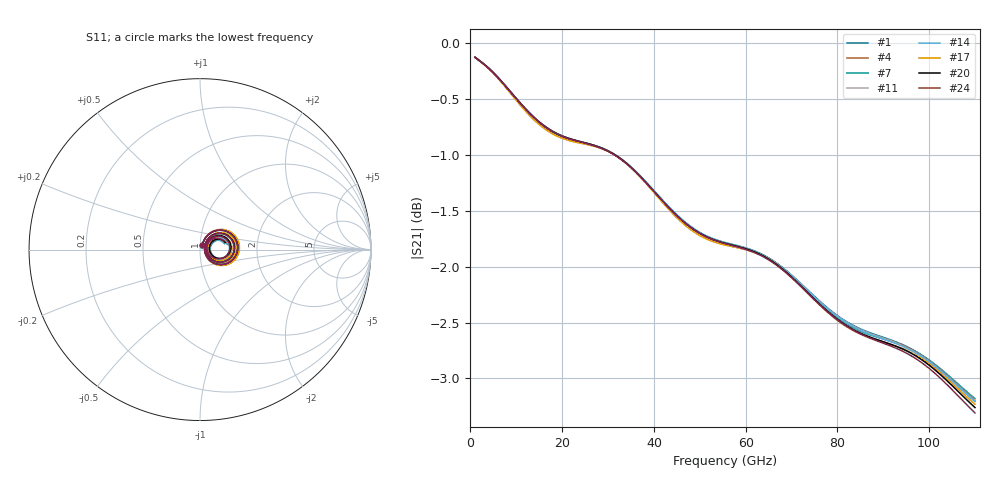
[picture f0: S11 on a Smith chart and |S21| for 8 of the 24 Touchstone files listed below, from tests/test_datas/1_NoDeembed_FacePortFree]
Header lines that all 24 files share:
! Touchstone file exported from HFSS 2024.2.0
!  File:  C:/Users/vaintrug/Documents/Ansoft_Workspace/Comparaison_Calculs_HFSS/1_VarPort.aedt
!  Design:  1_NoDeembed_FacePortFree
!  Project:  1_VarPort
!  Setup:  Setup1
!  Solution:  Sweep
! Variables:
# GHz S MA R 50.000000
! Terminal data exported
! Port[1] = 1
! Port[2] = 2
Fixed: $Lenght = 2000um, Gap = 30um, Th = 2um, X_centralStrip = 20um, X_masse = 200um, Y_Sub = 2mm, Z_Box = 400um, Z_Sub = 200um
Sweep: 1 GHz to 110 GHz
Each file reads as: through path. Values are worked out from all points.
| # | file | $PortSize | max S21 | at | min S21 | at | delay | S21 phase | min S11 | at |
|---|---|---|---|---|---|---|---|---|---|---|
| 1 | 1_Sij_NoDeembed_FacePortFree_L2000um_P170um.s2p | 170um | -0.13 dB | 1 GHz | -3.2 dB | 110 GHz | 15.5 ps | 48 deg at 56 GHz | -31.3 dB | 32 GHz |
| 2 | 1_Sij_NoDeembed_FacePortFree_L2000um_P180um.s2p | 180um | -0.13 dB | 1 GHz | -3.2 dB | 110 GHz | 15.4 ps | 48 deg at 56 GHz | -32.1 dB | 32 GHz |
| 3 | 1_Sij_NoDeembed_FacePortFree_L2000um_P190um.s2p | 190um | -0.13 dB | 1 GHz | -3.2 dB | 110 GHz | 15.4 ps | 48 deg at 56 GHz | -32.0 dB | 32 GHz |
| 4 | 1_Sij_NoDeembed_FacePortFree_L2000um_P200um.s2p | 200um | -0.13 dB | 1 GHz | -3.2 dB | 110 GHz | 15.4 ps | 48 deg at 56 GHz | -31.5 dB | 32 GHz |
| 5 | 1_Sij_NoDeembed_FacePortFree_L2000um_P210um.s2p | 210um | -0.13 dB | 1 GHz | -3.2 dB | 110 GHz | 15.5 ps | 48 deg at 56 GHz | -32.6 dB | 32 GHz |
| 6 | 1_Sij_NoDeembed_FacePortFree_L2000um_P220um.s2p | 220um | -0.13 dB | 1 GHz | -3.2 dB | 110 GHz | 15.5 ps | 48 deg at 56 GHz | -32.8 dB | 32 GHz |
| 7 | 1_Sij_NoDeembed_FacePortFree_L2000um_P230um.s2p | 230um | -0.13 dB | 1 GHz | -3.2 dB | 110 GHz | 15.4 ps | 48 deg at 56 GHz | -31.3 dB | 32 GHz |
| 8 | 1_Sij_NoDeembed_FacePortFree_L2000um_P240um.s2p | 240um | -0.13 dB | 1 GHz | -3.2 dB | 110 GHz | 15.5 ps | 48 deg at 56 GHz | -32.1 dB | 32 GHz |
| 9 | 1_Sij_NoDeembed_FacePortFree_L2000um_P250um.s2p | 250um | -0.13 dB | 1 GHz | -3.2 dB | 110 GHz | 15.4 ps | 48 deg at 56 GHz | -32.1 dB | 32 GHz |
| 10 | 1_Sij_NoDeembed_FacePortFree_L2000um_P260um.s2p | 260um | -0.13 dB | 1 GHz | -3.2 dB | 110 GHz | 15.4 ps | 48 deg at 56 GHz | -31.6 dB | 32 GHz |
| 11 | 1_Sij_NoDeembed_FacePortFree_L2000um_P270um.s2p | 270um | -0.13 dB | 1 GHz | -3.2 dB | 110 GHz | 15.5 ps | 48 deg at 56 GHz | -31.9 dB | 32 GHz |
| 12 | 1_Sij_NoDeembed_FacePortFree_L2000um_P280um.s2p | 280um | -0.13 dB | 1 GHz | -3.2 dB | 110 GHz | 15.4 ps | 49 deg at 56 GHz | -31.3 dB | 32 GHz |
| 13 | 1_Sij_NoDeembed_FacePortFree_L2000um_P290um.s2p | 290um | -0.13 dB | 1 GHz | -3.2 dB | 110 GHz | 15.4 ps | 48 deg at 56 GHz | -33.3 dB | 32 GHz |
| 14 | 1_Sij_NoDeembed_FacePortFree_L2000um_P300um.s2p | 300um | -0.13 dB | 1 GHz | -3.2 dB | 110 GHz | 15.5 ps | 48 deg at 56 GHz | -31.2 dB | 1 GHz |
| 15 | 1_Sij_NoDeembed_FacePortFree_L2000um_P310um.s2p | 310um | -0.13 dB | 1 GHz | -3.2 dB | 110 GHz | 15.5 ps | 48 deg at 56 GHz | -31.7 dB | 32 GHz |
| 16 | 1_Sij_NoDeembed_FacePortFree_L2000um_P320um.s2p | 320um | -0.13 dB | 1 GHz | -3.2 dB | 110 GHz | 15.4 ps | 48 deg at 56 GHz | -33.2 dB | 32 GHz |
| 17 | 1_Sij_NoDeembed_FacePortFree_L2000um_P330um.s2p | 330um | -0.13 dB | 1 GHz | -3.2 dB | 110 GHz | 15.4 ps | 48 deg at 56 GHz | -31.4 dB | 32 GHz |
| 18 | 1_Sij_NoDeembed_FacePortFree_L2000um_P340um.s2p | 340um | -0.13 dB | 1 GHz | -3.2 dB | 110 GHz | 15.4 ps | 48 deg at 56 GHz | -32.5 dB | 32 GHz |
| 19 | 1_Sij_NoDeembed_FacePortFree_L2000um_P350um.s2p | 350um | -0.13 dB | 1 GHz | -3.3 dB | 110 GHz | 15.4 ps | 48 deg at 56 GHz | -31.3 dB | 1 GHz |
| 20 | 1_Sij_NoDeembed_FacePortFree_L2000um_P360um.s2p | 360um | -0.13 dB | 1 GHz | -3.3 dB | 110 GHz | 15.4 ps | 48 deg at 56 GHz | -31.3 dB | 32 GHz |
| 21 | 1_Sij_NoDeembed_FacePortFree_L2000um_P370um.s2p | 370um | -0.13 dB | 1 GHz | -3.3 dB | 110 GHz | 15.4 ps | 48 deg at 56 GHz | -32.7 dB | 32 GHz |
| 22 | 1_Sij_NoDeembed_FacePortFree_L2000um_P380um.s2p | 380um | -0.13 dB | 1 GHz | -3.3 dB | 110 GHz | 15.4 ps | 48 deg at 56 GHz | -31.3 dB | 32 GHz |
| 23 | 1_Sij_NoDeembed_FacePortFree_L2000um_P390um.s2p | 390um | -0.13 dB | 1 GHz | -3.3 dB | 110 GHz | 15.4 ps | 48 deg at 56 GHz | -32.3 dB | 32 GHz |
| 24 | 1_Sij_NoDeembed_FacePortFree_L2000um_P400um.s2p | 400um | -0.13 dB | 1 GHz | -3.3 dB | 110 GHz | 15.4 ps | 48 deg at 56 GHz | -31.4 dB | 32 GHz |
